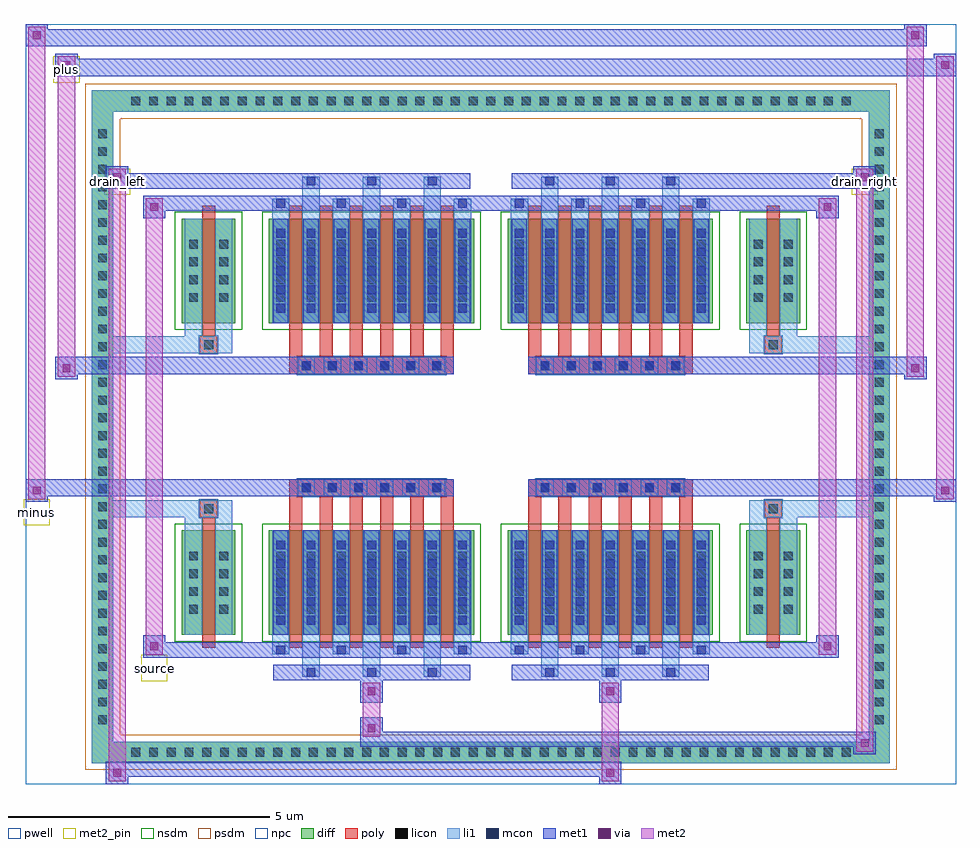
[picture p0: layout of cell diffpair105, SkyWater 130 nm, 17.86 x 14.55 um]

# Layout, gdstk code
import gdstk
lib = gdstk.Library(unit=1e-6, precision=5e-09)
def R(c, l, rs):  # rectangles x0, y0, x1, y1
    for r in rs: c.add(gdstk.rectangle(r[:2], r[2:], *l))
def A(c, l, x, y, w, h, nx, ny, dx, dy):  # array of equal rectangles
    R(c, l, [(x+i*dx, y+j*dy, x+i*dx+w, y+j*dy+h) for i in range(nx) for j in range(ny)])
def P(c, l, *ps):  # polygons
    for p in ps: c.add(gdstk.Polygon(p, *l))
pwell = (64, 44)
diff = (65, 20)
poly = (66, 20)
licon = (66, 44)
li1 = (67, 20)
mcon = (67, 44)
met1 = (68, 20)
via = (68, 44)
met2_pin = (69, 16)
met2 = (69, 20)
nsdm = (93, 44)
psdm = (94, 20)
npc = (95, 20)

diffpair105 = lib.new_cell('diffpair105')
R(diffpair105, pwell, [(-8.91,-6.84,8.91,7.71), (-6.23,-5.03,-0.01,-0.805), (0.01,-5.03,6.23,-0.805), (-6.23,0.805,-0.01,5.03), (0.01,0.805,6.23,5.03)])
A(diffpair105, diff, -7.005, -6.44, 0.41, 0.41, 41, 2, 0.34, 12.47)
A(diffpair105, diff, -7.64, -5.815, 0.41, 0.41, 1, 34, 0, 0.34)
A(diffpair105, diff, 7.23, -5.815, 0.41, 0.41, 1, 34, 0, 0.34)
R(diffpair105, diff, [(-7.005,-6.44,7.005,-6.03), (-7.64,-5.815,-7.23,5.815), (7.23,-5.815,7.64,5.815), (-5.92,-3.985,-4.89,-1.985), (-4.25,-3.985,-0.32,-1.985), (0.32,-3.985,4.25,-1.985), (4.89,-3.985,5.92,-1.985), (-5.92,1.985,-4.89,3.985), (-4.25,1.985,-0.32,3.985), (0.32,1.985,4.25,3.985), (4.89,1.985,5.92,3.985), (-7.005,6.03,7.005,6.44)])
P(diffpair105, diff, [(7.64,6.44),(-7.64,6.44),(-7.64,-6.03),(-7.23,-6.03),(-7.23,6.03),(7.23,6.03),(7.23,-6.03),(-7.23,-6.03),(-7.64,-6.03),(-7.64,-6.44),(7.64,-6.44)])
A(diffpair105, poly, -3.86, -4.235, 0.25, 2.5, 6, 2, 0.58, 5.97)
A(diffpair105, poly, 0.71, -4.235, 0.25, 2.5, 6, 2, 0.58, 5.97)
A(diffpair105, poly, -3.86, -1.735, 0.25, 0.4, 6, 2, 0.58, 3.07)
A(diffpair105, poly, 0.71, -1.735, 0.25, 0.4, 6, 2, 0.58, 3.07)
A(diffpair105, poly, -3.7, -1.335, 0.33, 0.33, 6, 2, 0.5, 2.34)
A(diffpair105, poly, 0.87, -1.335, 0.33, 0.33, 6, 2, 0.5, 2.34)
R(diffpair105, poly, [(-5.53,-4.235,-5.28,-1.735), (5.28,-4.235,5.53,-1.735), (-5.57,-1.735,-5.24,-1.405), (-5.57,-1.735,-5.24,-1.405), (5.24,-1.735,5.57,-1.405), (5.24,-1.735,5.57,-1.405), (-3.86,-1.335,-0.71,-1.005), (0.71,-1.335,3.86,-1.005), (-3.86,1.005,-0.71,1.335), (0.71,1.005,3.86,1.335), (-5.57,1.405,-5.24,1.735), (-5.57,1.405,-5.24,1.735), (5.24,1.405,5.57,1.735), (5.24,1.405,5.57,1.735), (-5.53,1.735,-5.28,4.235), (5.28,1.735,5.53,4.235)])
A(diffpair105, licon, -6.885, -6.32, 0.17, 0.17, 41, 2, 0.34, 12.47)
A(diffpair105, licon, -7.52, -5.695, 0.17, 0.17, 1, 34, 0, 0.34)
A(diffpair105, licon, 7.35, -5.695, 0.17, 0.17, 1, 34, 0, 0.34)
A(diffpair105, licon, -5.78, -3.58, 0.17, 0.17, 1, 4, 0, 0.34)
A(diffpair105, licon, -5.2, -3.58, 0.17, 0.17, 1, 4, 0, 0.34)
A(diffpair105, licon, -4.11, -3.58, 0.17, 0.17, 7, 4, 0.58, 0.34)
A(diffpair105, licon, 0.46, -3.58, 0.17, 0.17, 7, 4, 0.58, 0.34)
A(diffpair105, licon, 5.03, -3.58, 0.17, 0.17, 1, 4, 0, 0.34)
A(diffpair105, licon, 5.61, -3.58, 0.17, 0.17, 1, 4, 0, 0.34)
A(diffpair105, licon, -3.62, -1.255, 0.17, 0.17, 6, 2, 0.5, 2.34)
A(diffpair105, licon, 0.95, -1.255, 0.17, 0.17, 6, 2, 0.5, 2.34)
A(diffpair105, licon, -5.78, 2.39, 0.17, 0.17, 1, 4, 0, 0.34)
A(diffpair105, licon, -5.2, 2.39, 0.17, 0.17, 1, 4, 0, 0.34)
A(diffpair105, licon, -4.11, 2.39, 0.17, 0.17, 7, 4, 0.58, 0.34)
A(diffpair105, licon, 0.46, 2.39, 0.17, 0.17, 7, 4, 0.58, 0.34)
A(diffpair105, licon, 5.03, 2.39, 0.17, 0.17, 1, 4, 0, 0.34)
A(diffpair105, licon, 5.61, 2.39, 0.17, 0.17, 1, 4, 0, 0.34)
R(diffpair105, licon, [(-5.49,-1.655,-5.32,-1.485), (5.32,-1.655,5.49,-1.485), (-5.49,1.485,-5.32,1.655), (5.32,1.485,5.49,1.655)])
A(diffpair105, li1, -6.965, -6.4, 0.33, 0.33, 41, 2, 0.34, 12.47)
A(diffpair105, li1, -7.6, -5.775, 0.33, 0.33, 1, 34, 0, 0.34)
A(diffpair105, li1, 7.27, -5.775, 0.33, 0.33, 1, 34, 0, 0.34)
A(diffpair105, li1, -3.61, -4.79, 0.33, 0.805, 3, 2, 1.16, 8.775)
A(diffpair105, li1, -3.53, -4.79, 0.17, 0.17, 3, 2, 1.16, 9.41)
A(diffpair105, li1, 0.96, -4.79, 0.33, 0.805, 3, 2, 1.16, 8.775)
A(diffpair105, li1, 1.04, -4.79, 0.17, 0.17, 3, 2, 1.16, 9.41)
A(diffpair105, li1, -4.19, -4.36, 0.33, 0.375, 4, 2, 1.16, 8.345)
A(diffpair105, li1, -4.11, -4.36, 0.17, 0.17, 4, 2, 1.16, 8.55)
A(diffpair105, li1, 0.38, -4.36, 0.33, 0.375, 4, 2, 1.16, 8.345)
A(diffpair105, li1, 0.46, -4.36, 0.17, 0.17, 4, 2, 1.16, 8.55)
A(diffpair105, li1, -4.19, -3.985, 0.33, 2, 7, 2, 0.58, 5.97)
A(diffpair105, li1, 0.38, -3.985, 0.33, 2, 7, 2, 0.58, 5.97)
A(diffpair105, li1, -4.11, -3.79, 0.17, 0.17, 7, 5, 0.58, 0.36)
A(diffpair105, li1, -4.11, -3.79, 0.17, 1.61, 7, 2, 0.58, 5.97)
A(diffpair105, li1, 0.46, -3.79, 0.17, 0.17, 7, 5, 0.58, 0.36)
A(diffpair105, li1, 0.46, -3.79, 0.17, 1.61, 7, 2, 0.58, 5.97)
A(diffpair105, li1, -5.86, -3.66, 0.33, 0.33, 1, 4, 0, 0.34)
A(diffpair105, li1, -5.28, -3.66, 0.33, 0.33, 1, 4, 0, 0.34)
A(diffpair105, li1, -4.19, -3.66, 0.33, 0.33, 7, 4, 0.58, 0.34)
A(diffpair105, li1, 0.38, -3.66, 0.33, 0.33, 7, 4, 0.58, 0.34)
A(diffpair105, li1, 4.95, -3.66, 0.33, 0.33, 1, 4, 0, 0.34)
A(diffpair105, li1, 5.53, -3.66, 0.33, 0.33, 1, 4, 0, 0.34)
A(diffpair105, li1, -3.7, -1.335, 0.33, 0.33, 6, 2, 0.5, 2.34)
A(diffpair105, li1, 0.87, -1.335, 0.33, 0.33, 6, 2, 0.5, 2.34)
A(diffpair105, li1, -4.11, 2.18, 0.17, 0.17, 7, 5, 0.58, 0.36)
A(diffpair105, li1, 0.46, 2.18, 0.17, 0.17, 7, 5, 0.58, 0.36)
A(diffpair105, li1, -5.86, 2.31, 0.33, 0.33, 1, 4, 0, 0.34)
A(diffpair105, li1, -5.28, 2.31, 0.33, 0.33, 1, 4, 0, 0.34)
A(diffpair105, li1, -4.19, 2.31, 0.33, 0.33, 7, 4, 0.58, 0.34)
A(diffpair105, li1, 0.38, 2.31, 0.33, 0.33, 7, 4, 0.58, 0.34)
A(diffpair105, li1, 4.95, 2.31, 0.33, 0.33, 1, 4, 0, 0.34)
A(diffpair105, li1, 5.53, 2.31, 0.33, 0.33, 1, 4, 0, 0.34)
R(diffpair105, li1, [(-7.64,-6.44,-7.23,-6.03), (-7.64,-6.44,-7.23,-6.03), (-7.23,-6.44,7.23,-6.03), (7.23,-6.44,7.64,-6.03), (7.23,-6.44,7.64,-6.03), (-7.64,-6.03,-7.23,6.03), (7.23,-6.03,7.64,6.03), (-5.86,-3.985,-5.53,-1.985), (-5.28,-3.985,-4.95,-1.985), (4.95,-3.985,5.28,-1.985), (5.53,-3.985,5.86,-1.985), (-5.86,-1.985,-5.53,-1.405), (-5.28,-1.985,-4.95,-1.405), (4.95,-1.985,5.28,-1.405), (5.53,-1.985,5.86,-1.405), (-7.64,-1.735,-5.57,-1.405), (-5.86,-1.735,-5.57,-1.405), (-5.57,-1.735,-5.24,-1.405), (-5.24,-1.735,-4.95,-1.405), (4.95,-1.735,5.24,-1.405), (5.24,-1.735,5.57,-1.405), (5.24,-1.735,7.64,-1.405), (5.57,-1.735,5.86,-1.405), (-7.64,1.405,-5.57,1.735), (-5.86,1.405,-5.57,1.735), (-5.86,1.405,-5.53,1.985), (-5.57,1.405,-5.24,1.735), (-5.28,1.405,-4.95,1.985), (-5.24,1.405,-4.95,1.735), (4.95,1.405,5.24,1.735), (4.95,1.405,5.28,1.985), (5.24,1.405,5.57,1.735), (5.24,1.405,7.64,1.735), (5.53,1.405,5.86,1.985), (5.57,1.405,5.86,1.735), (-5.86,1.985,-5.53,3.985), (-5.28,1.985,-4.95,3.985), (4.95,1.985,5.28,3.985), (5.53,1.985,5.86,3.985), (-7.64,6.03,-7.23,6.44), (-7.64,6.03,-7.23,6.44), (-7.23,6.03,7.23,6.44), (7.23,6.03,7.64,6.44), (7.23,6.03,7.64,6.44)])
A(diffpair105, mcon, -3.53, -4.79, 0.17, 0.17, 3, 2, 1.16, 9.41)
A(diffpair105, mcon, 1.04, -4.79, 0.17, 0.17, 3, 2, 1.16, 9.41)
A(diffpair105, mcon, -4.11, -4.36, 0.17, 0.17, 4, 2, 1.16, 8.55)
A(diffpair105, mcon, 0.46, -4.36, 0.17, 0.17, 4, 2, 1.16, 8.55)
A(diffpair105, mcon, -4.11, -3.79, 0.17, 0.17, 7, 5, 0.58, 0.36)
A(diffpair105, mcon, 0.46, -3.79, 0.17, 0.17, 7, 5, 0.58, 0.36)
A(diffpair105, mcon, -3.62, -1.255, 0.17, 0.17, 6, 2, 0.5, 2.34)
A(diffpair105, mcon, 0.95, -1.255, 0.17, 0.17, 6, 2, 0.5, 2.34)
A(diffpair105, mcon, -4.11, 2.18, 0.17, 0.17, 7, 5, 0.58, 0.36)
A(diffpair105, mcon, 0.46, 2.18, 0.17, 0.17, 7, 5, 0.58, 0.36)
A(diffpair105, met1, -3.59, -4.85, 0.29, 0.29, 3, 2, 1.16, 9.41)
A(diffpair105, met1, 0.98, -4.85, 0.29, 0.29, 3, 2, 1.16, 9.41)
A(diffpair105, met1, -4.17, -4.42, 0.29, 0.29, 4, 2, 1.16, 8.55)
A(diffpair105, met1, 0.4, -4.42, 0.29, 0.29, 4, 2, 1.16, 8.55)
A(diffpair105, met1, -4.17, -3.985, 0.29, 2, 7, 2, 0.58, 5.97)
A(diffpair105, met1, 0.4, -3.985, 0.29, 2, 7, 2, 0.58, 5.97)
A(diffpair105, met1, -4.17, -3.85, 0.29, 0.29, 7, 5, 0.58, 0.36)
A(diffpair105, met1, 0.4, -3.85, 0.29, 0.29, 7, 5, 0.58, 0.36)
A(diffpair105, met1, -3.68, -1.315, 0.29, 0.29, 6, 2, 0.5, 2.34)
A(diffpair105, met1, 0.89, -1.315, 0.29, 0.29, 6, 2, 0.5, 2.34)
A(diffpair105, met1, -4.17, 2.12, 0.29, 0.29, 7, 5, 0.58, 0.36)
A(diffpair105, met1, 0.4, 2.12, 0.29, 0.29, 7, 5, 0.58, 0.36)
R(diffpair105, met1, [(-7.37,-6.84,-6.94,-6.41), (2.07,-6.84,2.5,-6.41), (-7.37,-6.7,2.5,-6.41), (6.94,-6.27,7.37,-5.84), (-2.5,-6.13,7.37,-5.84), (-2.5,-5.99,-2.07,-5.56), (-2.5,-5.28,-2.07,-4.85), (2.07,-5.28,2.5,-4.85), (-4.17,-4.85,-0.4,-4.56), (0.4,-4.85,4.17,-4.56), (-6.66,-4.42,-6.23,-3.99), (-6.66,-4.42,-4.17,-4.13), (-4.17,-4.42,-0.4,-4.13), (-0.4,-4.42,0.4,-4.13), (0.4,-4.42,4.17,-4.13), (4.17,-4.42,6.66,-4.13), (6.23,-4.42,6.66,-3.99), (-8.91,-1.435,-8.48,-1.005), (8.48,-1.435,8.91,-1.005), (-8.91,-1.335,-0.71,-1.005), (-3.86,-1.335,-0.71,-1.005), (0.71,-1.335,3.86,-1.005), (0.71,-1.335,8.91,-1.005), (-8.34,0.905,-7.91,1.335), (7.91,0.905,8.34,1.335), (-8.34,1.005,-3.86,1.335), (-3.86,1.005,-0.71,1.335), (0.71,1.005,3.86,1.335), (3.86,1.005,8.34,1.335), (-6.66,3.99,-6.23,4.42), (6.23,3.99,6.66,4.42), (-6.66,4.13,-4.17,4.42), (-4.17,4.13,-0.4,4.42), (-0.4,4.13,0.4,4.42), (0.4,4.13,4.17,4.42), (4.17,4.13,6.66,4.42), (-7.37,4.56,-6.94,4.99), (-7.37,4.56,-4.17,4.85), (-4.17,4.56,-0.4,4.85), (0.4,4.56,4.17,4.85), (4.17,4.56,7.37,4.85), (6.94,4.56,7.37,4.99), (-8.34,6.71,-7.91,7.14), (-8.34,6.71,-6.23,7.04), (-6.23,6.71,6.23,7.04), (6.23,6.71,8.91,7.04), (8.48,6.71,8.91,7.14), (-8.91,7.28,-8.48,7.71), (-8.91,7.28,-6.23,7.61), (-6.23,7.28,6.23,7.61), (6.23,7.28,8.34,7.61), (7.91,7.28,8.34,7.71)])
R(diffpair105, via, [(-7.23,-6.7,-7.08,-6.55), (2.21,-6.7,2.36,-6.55), (7.08,-6.13,7.23,-5.98), (-2.36,-5.85,-2.21,-5.7), (-2.36,-5.14,-2.21,-4.99), (2.21,-5.14,2.36,-4.99), (-6.52,-4.28,-6.37,-4.13), (6.37,-4.28,6.52,-4.13), (-8.77,-1.295,-8.62,-1.145), (8.62,-1.295,8.77,-1.145), (-8.2,1.045,-8.05,1.195), (8.05,1.045,8.2,1.195), (-6.52,4.13,-6.37,4.28), (6.37,4.13,6.52,4.28), (-7.23,4.7,-7.08,4.85), (7.08,4.7,7.23,4.85), (-8.2,6.85,-8.05,7), (8.62,6.85,8.77,7), (-8.77,7.42,-8.62,7.57), (8.05,7.42,8.2,7.57)])
R(diffpair105, met2_pin, [(-6.695,-4.87,-6.195,-4.37), (-8.945,-1.885,-8.445,-1.385), (-7.405,4.44,-6.905,4.94), (6.905,4.44,7.405,4.94), (-8.375,6.59,-7.875,7.09)])
R(diffpair105, met2, [(-7.32,-6.79,-6.99,-6.46), (-7.32,-6.79,-6.99,4.94), (2.12,-6.79,2.45,-6.46), (2.12,-6.46,2.45,-5.23), (6.99,-6.22,7.32,-5.89), (6.99,-6.22,7.32,4.94), (-2.45,-5.94,-2.12,-5.61), (-2.45,-5.61,-2.12,-5.23), (-2.45,-5.23,-2.12,-4.9), (2.12,-5.23,2.45,-4.9), (-6.61,-4.37,-6.28,-4.04), (-6.61,-4.37,-6.28,4.37), (6.28,-4.37,6.61,-4.04), (6.28,-4.37,6.61,4.37), (-8.86,-1.385,-8.53,-1.055), (-8.86,-1.385,-8.53,7.66), (8.53,-1.385,8.86,-1.055), (8.53,-1.385,8.86,7.09), (-8.29,0.955,-7.96,1.285), (-8.29,0.955,-7.96,7.09), (7.96,0.955,8.29,1.285), (7.96,0.955,8.29,7.66), (-6.61,4.04,-6.28,4.37), (6.28,4.04,6.61,4.37), (-7.32,4.61,-6.99,4.94), (6.99,4.61,7.32,4.94), (-8.29,6.76,-7.96,7.09), (8.53,6.76,8.86,7.09), (-8.86,7.33,-8.53,7.66), (7.96,7.33,8.29,7.66)])
P(diffpair105, met2, [(8.86,-1.385),(8.86,-1.385),(8.86,-1.055),(8.86,-1.055)],
  [(8.86,6.76),(8.86,6.76),(8.86,7.09),(8.86,7.09)],
  [(-8.53,-1.385),(-8.53,-1.385),(-8.53,-1.055),(-8.53,-1.055)],
  [(-8.53,7.33),(-8.53,7.33),(-8.53,7.66),(-8.53,7.66)],
  [(8.29,0.955),(8.29,0.955),(8.29,1.285),(8.29,1.285)],
  [(8.29,7.33),(8.29,7.33),(8.29,7.66),(8.29,7.66)],
  [(-7.96,0.955),(-7.96,0.955),(-7.96,1.285),(-7.96,1.285)],
  [(-7.96,6.76),(-7.96,6.76),(-7.96,7.09),(-7.96,7.09)],
  [(-6.99,-6.79),(-6.99,-6.79),(-6.99,-6.46),(-6.99,-6.46)],
  [(-6.99,4.61),(-6.99,4.61),(-6.99,4.94),(-6.99,4.94)],
  [(7.32,-6.22),(7.32,-6.22),(7.32,-5.89),(7.32,-5.89)],
  [(7.32,4.61),(7.32,4.61),(7.32,4.94),(7.32,4.94)],
  [(-6.28,-4.37),(-6.28,-4.37),(-6.28,-4.04),(-6.28,-4.04)],
  [(-6.28,4.04),(-6.28,4.04),(-6.28,4.37),(-6.28,4.37)],
  [(6.61,-4.37),(6.61,-4.37),(6.61,-4.04),(6.61,-4.04)],
  [(6.61,4.04),(6.61,4.04),(6.61,4.37),(6.61,4.37)])
R(diffpair105, nsdm, [(-6.05,-4.115,-4.76,-1.855), (-4.38,-4.115,-0.19,-1.855), (0.19,-4.115,4.38,-1.855), (4.76,-4.115,6.05,-1.855), (-6.05,1.855,-4.76,4.115), (-4.38,1.855,-0.19,4.115), (0.19,1.855,4.38,4.115), (4.76,1.855,6.05,4.115)])
P(diffpair105, psdm, [(7.77,6.57),(-7.77,6.57),(-7.77,-5.9),(-7.1,-5.9),(-7.1,5.9),(7.1,5.9),(7.1,-5.9),(-7.1,-5.9),(-7.77,-5.9),(-7.77,-6.57),(7.77,-6.57)])
A(diffpair105, npc, -3.72, -1.355, 0.37, 0.37, 6, 2, 0.5, 2.34)
A(diffpair105, npc, 0.85, -1.355, 0.37, 0.37, 6, 2, 0.5, 2.34)
R(diffpair105, npc, [(-5.59,-1.755,-5.22,-1.385), (5.22,-1.755,5.59,-1.385), (-3.72,-1.355,-2.85,-0.985), (-3.72,-1.355,-2.85,-0.985), (-3.22,-1.355,-2.35,-0.985), (-3.22,-1.355,-2.35,-0.985), (-2.72,-1.355,-1.85,-0.985), (-2.72,-1.355,-1.85,-0.985), (-2.22,-1.355,-1.35,-0.985), (-2.22,-1.355,-1.35,-0.985), (-1.72,-1.355,-0.85,-0.985), (-1.72,-1.355,-0.85,-0.985), (0.85,-1.355,1.72,-0.985), (0.85,-1.355,1.72,-0.985), (1.35,-1.355,2.22,-0.985), (1.35,-1.355,2.22,-0.985), (1.85,-1.355,2.72,-0.985), (1.85,-1.355,2.72,-0.985), (2.35,-1.355,3.22,-0.985), (2.35,-1.355,3.22,-0.985), (2.85,-1.355,3.72,-0.985), (2.85,-1.355,3.72,-0.985), (-3.72,0.985,-2.85,1.355), (-3.72,0.985,-2.85,1.355), (-3.22,0.985,-2.35,1.355), (-3.22,0.985,-2.35,1.355), (-2.72,0.985,-1.85,1.355), (-2.72,0.985,-1.85,1.355), (-2.22,0.985,-1.35,1.355), (-2.22,0.985,-1.35,1.355), (-1.72,0.985,-0.85,1.355), (-1.72,0.985,-0.85,1.355), (0.85,0.985,1.72,1.355), (0.85,0.985,1.72,1.355), (1.35,0.985,2.22,1.355), (1.35,0.985,2.22,1.355), (1.85,0.985,2.72,1.355), (1.85,0.985,2.72,1.355), (2.35,0.985,3.22,1.355), (2.35,0.985,3.22,1.355), (2.85,0.985,3.72,1.355), (2.85,0.985,3.72,1.355), (-5.59,1.385,-5.22,1.755), (5.22,1.385,5.59,1.755)])
diffpair105.add(gdstk.Label('minus', (-8.695,-1.635), layer=69, texttype=5))
diffpair105.add(gdstk.Label('drain_right', (7.155,4.69), layer=69, texttype=5))
diffpair105.add(gdstk.Label('drain_left', (-7.155,4.69), layer=69, texttype=5))
diffpair105.add(gdstk.Label('source', (-6.445,-4.62), layer=69, texttype=5))
diffpair105.add(gdstk.Label('plus', (-8.125,6.84), layer=69, texttype=5))

lib.write_gds('diffpair105.gds')
